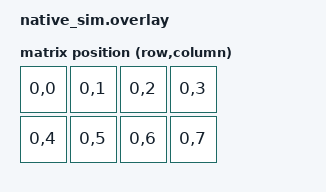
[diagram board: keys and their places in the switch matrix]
/* Copyright (c) 2026 The ZMK Contributors
 * SPDX-License-Identifier: MIT
 */
#include <dt-bindings/zmk/matrix_transform.h>
#include <dt-bindings/keypaw/rgb_matrix.h>
#include <physical_layouts.dtsi>

/ {
    chosen { zmk,physical-layout = &geometry_layout; };
    geometry_transform: geometry-transform {
        compatible = "zmk,matrix-transform";
        rows = <1>;
        columns = <8>;
        map = <RC(0, 0) RC(0, 1) RC(0, 2) RC(0, 3)
               RC(0, 4) RC(0, 5) RC(0, 6) RC(0, 7)>;
    };
    runtime_layout: runtime-layout {
        compatible = "zmk,physical-layout";
        status = "disabled";
        display-name = "Runtime decoy";
        transform = <&geometry_transform>;
        keys = <&key_physical_attrs 100 100 900 800 0 0 0>;
    };
    geometry_layout: geometry-layout {
        compatible = "zmk,physical-layout";
        display-name = "Declared geometry";
        transform = <&geometry_transform>;
        keys = <&key_physical_attrs 100 100 20 30 0 0 0>,
               <&key_physical_attrs 80 120 220 70 0 0 0>,
               <&key_physical_attrs 100 100 400 400 0 0 0>,
               <&key_physical_attrs 100 60 120 230 0 0 0>,
               <&key_physical_attrs 100 100 500 500 0 0 0>,
               <&key_physical_attrs 100 100 600 600 0 0 0>;
    };
    geometry_strip: geometry-strip {
        compatible = "keypaw,led-strip-composite-probe";
        chain-length = <5>;
    };
    rgb_matrix: rgb {
        compatible = "keypaw,rgb-matrix";
        #binding-cells = <2>;
        strip = <&geometry_strip>;
        physical-layout = <&geometry_layout>;
        mapping = <3 0 KP_RGB_NO_KEY(10, 20) 3 1>;
        initial-on;
        initial-brightness = <100>;
        max-brightness = <100>;
        idle-brightness = <100>;
        geometry_overlay: geometry-overlay {
            compatible = "keypaw,rgb-overlay";
            all-leds;
            geometry_probe: geometry-probe {
                compatible = "keypaw,rgb-matrix-selector-probe";
            };
        };
    };
};
&kscan {
    rows = <1>;
    columns = <8>;
    events = <>;
    /delete-property/ exit-after;
};
